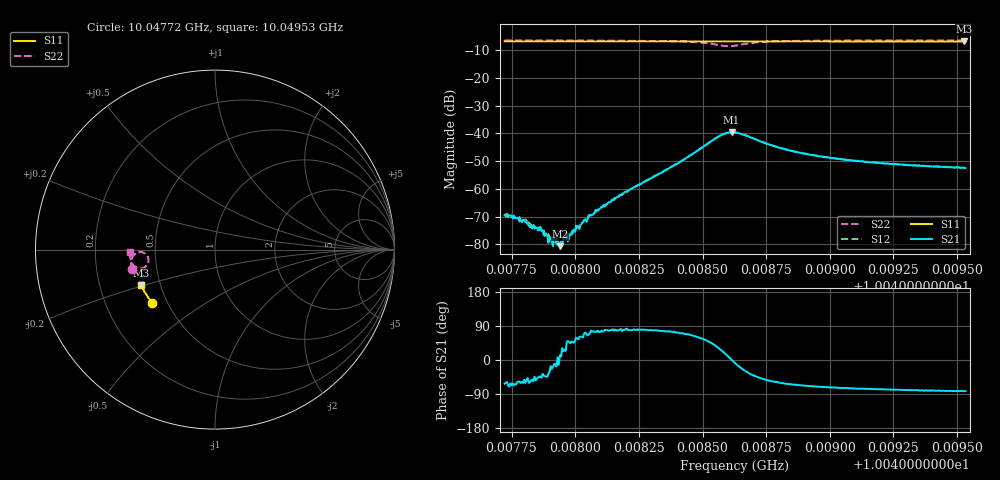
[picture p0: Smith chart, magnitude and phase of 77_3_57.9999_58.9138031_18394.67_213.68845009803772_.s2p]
#  HZ  S  RI  R  50.00
! Rohde & Schwarz Vector Network Analyzer
! Rohde-Schwarz,ZNB20-2Port,1311601062101988,3.16
! Created: UTC 3/21/2024, 12:53:45 AM
! freq[Hz]  re:S11  im:S11  re:S21  im:S21  re:S12  im:S12  re:S22  im:S22
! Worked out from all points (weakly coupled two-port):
!   401 points, 10.04772 GHz to 10.04953 GHz, reference 50 ohm
!   highest |S21| = -39.59 dB at 10.04861 GHz (marker M1); lowest = -80.7 dB at 10.04794 GHz (marker M2)
!   lowest |S11| = -6.8 dB at 10.04953 GHz (marker M3), VSWR 2.68, Z = 19.5 - j9.8 ohm
!   |S11| at or under -10 dB: nowhere
!   |S22| runs from -8.5 to -6.5 dB; largest |S21 - S12| = 0.00076
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1.0047723e10  -0.3484 -0.3002  0.000157 -0.0003  0.00016 -0.000305  -0.4627 -0.1106
1.0047741e10  -0.349 -0.2992  0.000111 -0.00031  0.00016 -0.000289  -0.463 -0.1092
1.00478e10  -0.3514 -0.2962  0.000164 -0.00021  0.000159 -0.00022  -0.4638 -0.1048
1.0047822e10  -0.3525 -0.295  0.000105 -0.000174  0.00014 -0.000188  -0.4641 -0.1028
1.0047863e10  -0.3542 -0.2927  0.000152 -0.000142  0.000116 -0.000144  -0.4646 -0.0996
1.0047904e10  -0.3558 -0.2907  0.000129 -3.81e-05  0.000133 -4.19e-05  -0.465 -0.0965
1.0047913e10  -0.3562 -0.2901  8.85e-05 -2.87e-05  0.000125 -4.65e-05  -0.4652 -0.0957
1.004794e10  -0.3573 -0.2887  9.06e-05 1.96e-05  0.00011 3.13e-05  -0.4654 -0.0934
1.0047958e10  -0.3581 -0.2878  0.000124 6.5e-05  9.75e-05 7.5e-05  -0.4655 -0.0917
1.0047981e10  -0.3589 -0.2866  0.000104 0.0001  0.000128 8.62e-05  -0.4659 -0.0899
1.0048026e10  -0.3607 -0.2842  0.000116 0.00021  8.21e-05 0.000231  -0.4662 -0.0858
1.0048085e10  -0.363 -0.2808  0.00011 0.000399  9.42e-05 0.000399  -0.4665 -0.0804
1.0048153e10  -0.3658 -0.2773  0.000137 0.000616  9.43e-05 0.000661  -0.4667 -0.0737
1.0048329e10  -0.3725 -0.2676  0.000409 0.0018  0.000308 0.00185  -0.4636 -0.0512
1.004856e10  -0.38 -0.2544  0.0072 0.00473  0.00692 0.00521  -0.3952 -0.0184
1.0048614e10  -0.3816 -0.2519  0.0105 6.98e-05  0.0105 0.00076  -0.3706 -0.0646
1.0048628e10  -0.382 -0.2513  0.0103 -0.00146  0.0104 -0.000717  -0.3746 -0.0783
1.00488e10  -0.3886 -0.242  0.00281 -0.00478  0.00316 -0.00464  -0.4531 -0.0891
1.0048931e10  -0.393 -0.2344  0.00146 -0.0038  0.00168 -0.00372  -0.4657 -0.0687
1.0049234e10  -0.4026 -0.2166  0.000599 -0.00277  0.000758 -0.00278  -0.473 -0.0375
1.0049528e10  -0.4109 -0.199  0.000317 -0.00236  0.000451 -0.00239  -0.4748 -0.0138
1.0049532e10  -0.4112 -0.1989  0.000329 -0.00234  0.000439 -0.00237  -0.4747 -0.0136
